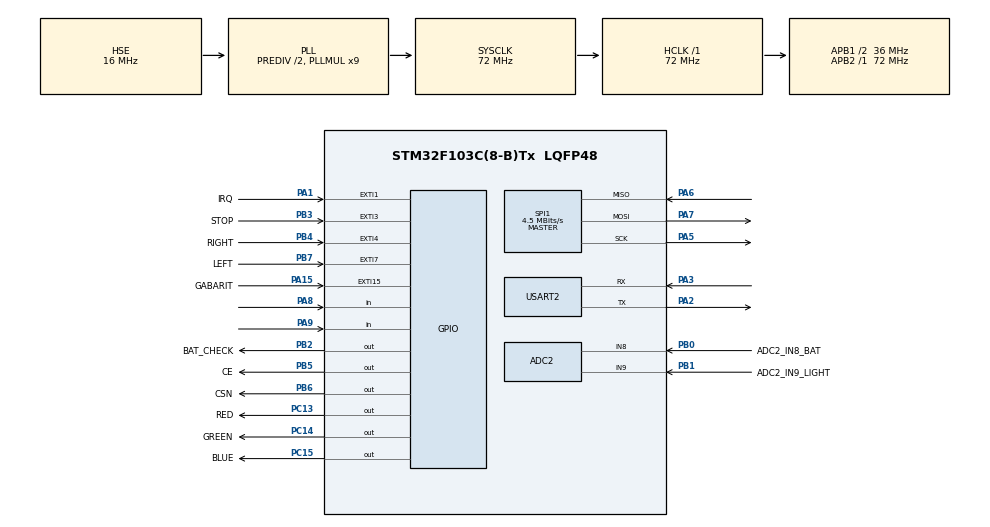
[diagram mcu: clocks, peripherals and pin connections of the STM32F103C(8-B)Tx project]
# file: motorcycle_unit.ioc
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ADC2.Channel-9\#ChannelRegularConversion=ADC_CHANNEL_9
ADC2.NbrOfConversionFlag=1
ADC2.Rank-9\#ChannelRegularConversion=1
ADC2.SamplingTime-9\#ChannelRegularConversion=ADC_SAMPLETIME_1CYCLE_5
Mcu.Family=STM32F1
Mcu.Name=STM32F103C(8-B)Tx
Mcu.Package=LQFP48
NVIC.EXTI15_10_IRQn=true\:2\:0\:true\:false\:true\:true\:true
NVIC.EXTI3_IRQn=true\:1\:0\:true\:false\:true\:true\:true
NVIC.EXTI4_IRQn=true\:1\:0\:true\:false\:true\:true\:true
NVIC.EXTI9_5_IRQn=true\:1\:0\:true\:false\:true\:true\:true
NVIC.PVD_IRQn=true\:7\:0\:true\:false\:true\:true\:true
NVIC.PriorityGroup=NVIC_PRIORITYGROUP_4
NVIC.TIM1_CC_IRQn=true\:5\:0\:true\:false\:true\:true\:true
NVIC.TIM2_IRQn=true\:1\:0\:true\:false\:true\:true\:true
NVIC.TIM4_IRQn=true\:6\:0\:true\:false\:true\:true\:true
PA1.GPIO_Label=IRQ
PA1.Signal=GPXTI1
PA13.Mode=Serial_Wire
PA13.Signal=SYS_JTMS-SWDIO
PA14.Mode=Serial_Wire
PA14.Signal=SYS_JTCK-SWCLK
PA15.GPIO_Label=GABARIT
PA15.GPIO_ModeDefaultEXTI=GPIO_MODE_IT_RISING_FALLING
PA15.GPIO_PuPd=GPIO_PULLUP
PA15.Signal=GPXTI15
PA2.Mode=Asynchronous
PA2.Signal=USART2_TX
PA3.Mode=Asynchronous
PA3.Signal=USART2_RX
PA5.Mode=Full_Duplex_Master
PA5.Signal=SPI1_SCK
PA6.Mode=Full_Duplex_Master
PA6.Signal=SPI1_MISO
PA7.Mode=Full_Duplex_Master
PA7.Signal=SPI1_MOSI
PA8.GPIO_PuPd=GPIO_PULLUP
PA8.Signal=GPIO_Input
PA9.GPIO_PuPd=GPIO_PULLUP
PA9.Signal=GPIO_Input
PB0.GPIO_Label=ADC2_IN8_BAT
PB0.Signal=ADCx_IN8
PB1.GPIO_Label=ADC2_IN9_LIGHT
PB1.Signal=ADCx_IN9
PB2.GPIO_Label=BAT_CHECK
PB2.Signal=GPIO_Output
PB3.GPIO_Label=STOP
PB3.GPIO_ModeDefaultEXTI=GPIO_MODE_IT_RISING_FALLING
PB3.GPIO_PuPd=GPIO_PULLUP
PB3.Signal=GPXTI3
PB4.GPIO_Label=RIGHT
PB4.GPIO_ModeDefaultEXTI=GPIO_MODE_IT_RISING_FALLING
PB4.GPIO_PuPd=GPIO_PULLUP
PB4.Signal=GPXTI4
PB5.GPIO_Label=CE
PB5.Signal=GPIO_Output
PB6.GPIO_Label=CSN
PB6.Signal=GPIO_Output
PB7.GPIO_Label=LEFT
PB7.GPIO_ModeDefaultEXTI=GPIO_MODE_IT_RISING_FALLING
PB7.GPIO_PuPd=GPIO_PULLUP
PB7.Signal=GPXTI7
PC13-TAMPER-RTC.GPIO_Label=RED
PC13-TAMPER-RTC.Signal=GPIO_Output
PC14-OSC32_IN.GPIO_Label=GREEN
PC14-OSC32_IN.Signal=GPIO_Output
PC15-OSC32_OUT.GPIO_Label=BLUE
PC15-OSC32_OUT.Signal=GPIO_Output
PD0-OSC_IN.Mode=HSE-External-Oscillator
PD0-OSC_IN.Signal=RCC_OSC_IN
PD1-OSC_OUT.Mode=HSE-External-Oscillator
PD1-OSC_OUT.Signal=RCC_OSC_OUT
ProjectManager.HeapSize=0x200
ProjectManager.StackSize=0x400
ProjectManager.TargetToolchain=TrueSTUDIO
RCC.ADCPresc=RCC_ADCPCLK2_DIV6
RCC.AHBFreq_Value=72000000
RCC.APB1CLKDivider=RCC_HCLK_DIV2
RCC.APB1Freq_Value=36000000
RCC.APB1TimFreq_Value=72000000
RCC.APB2Freq_Value=72000000
RCC.APB2TimFreq_Value=72000000
RCC.HCLKFreq_Value=72000000
RCC.HSEDivPLL=RCC_HSE_PREDIV_DIV2
RCC.HSE_VALUE=16000000
RCC.PLLMUL=RCC_PLL_MUL9
RCC.PLLSourceVirtual=RCC_PLLSOURCE_HSE
RCC.SYSCLKFreq_VALUE=72000000
RCC.SYSCLKSource=RCC_SYSCLKSOURCE_PLLCLK
RCC.USBFreq_Value=72000000
SH.ADCx_IN8.0=ADC2_IN8,IN8
SH.ADCx_IN9.0=ADC2_IN9,IN9
SPI1.BaudRatePrescaler=SPI_BAUDRATEPRESCALER_16
SPI1.CalculateBaudRate=4.5 MBits/s
SPI1.Direction=SPI_DIRECTION_2LINES
SPI1.Mode=SPI_MODE_MASTER
SPI1.VirtualType=VM_MASTER
TIM1.Channel-Output\ Compare1\ No\ Output=TIM_CHANNEL_1
TIM1.Period=59999
TIM1.Prescaler=7199
TIM2.Channel-Output\ Compare1\ No\ Output=TIM_CHANNEL_1
TIM2.Period=9999
TIM2.Prescaler=7199
TIM2.Pulse-Output\ Compare1\ No\ Output=10000
TIM4.Channel-Output\ Compare1\ No\ Output=TIM_CHANNEL_1
TIM4.Period=9999
TIM4.Prescaler=7199
TIM4.Pulse-Output\ Compare1\ No\ Output=10000
USART2.VirtualMode=VM_ASYNC
VP_TIM1_VS_no_output1.Mode=Output Compare1 No Output
VP_TIM2_VS_no_output1.Mode=Output Compare1 No Output
VP_TIM4_VS_no_output1.Mode=Output Compare1 No Output
board=custom

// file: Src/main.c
/* USER CODE BEGIN Header */
/**
  ******************************************************************************
  * @file           : main.c
  * @brief          : Main program body
  ******************************************************************************
  * @attention
  *
  * <h2><center>&copy; Copyright (c) 2019 STMicroelectronics.
  * All rights reserved.</center></h2>
  *
  * This software component is licensed by ST under BSD 3-Clause license,
  * the "License"; You may not use this file except in compliance with the
  * License. You may obtain a copy of the License at:
  *                        opensource.org/licenses/BSD-3-Clause
  *
  ******************************************************************************
  */
/* USER CODE END Header */

#include "main.h"

/* USER CODE BEGIN Includes */
#include "RF24.h"
#include "motorcycle.h"
#include "stm32f103xb.h"
/* USER CODE END Includes */

ADC_HandleTypeDef hadc2;

SPI_HandleTypeDef hspi1;

TIM_HandleTypeDef htim1;
TIM_HandleTypeDef htim2;
TIM_HandleTypeDef htim4;

UART_HandleTypeDef huart2;

/* USER CODE BEGIN PV */
int advertize_flag = 0;
extern int search_flag;
//uint8_t nrf_data[32] = {0,}; // буфер указываем максимального размера
//uint8_t remsg = 0; // переменная для приёма байта пришедшего вместе с ответом
/* USER CODE END PV */

void SystemClock_Config(void);
static void MX_GPIO_Init(void);
static void MX_SPI1_Init(void);
static void MX_ADC2_Init(void);
static void MX_USART2_UART_Init(void);
static void MX_TIM1_Init(void);
static void MX_TIM2_Init(void);
static void MX_TIM4_Init(void);

int main(void)
{

  /* MCU Configuration--------------------------------------------------------*/

  /* Reset of all peripherals, Initializes the Flash interface and the Systick. */
  HAL_Init();

  /* Configure the system clock */
  SystemClock_Config();

  /* Initialize all configured peripherals */
  MX_GPIO_Init();
  MX_SPI1_Init();
  MX_ADC2_Init();
  MX_USART2_UART_Init();
  MX_TIM1_Init();
  MX_TIM2_Init();
  MX_TIM4_Init();
  /* USER CODE BEGIN 2 */

  DWT_Init(); // счётчик для микросекундных пауз

  const uint64_t pipe1 = 0xE8E8F0F0E2LL; // адрес первой трубы
  const uint64_t pipe2 = 0xE8E8F0F0A2LL; // адрес второй трубы

   uint8_t res = isChipConnected(); // проверяет подключён ли модуль к SPI

//   char str[64] = {0,};
//   snprintf(str, 64, "Connected: %s\n\r", 1 ? "OK" : "NOT OK");
//   HAL_UART_Transmit(&huart2, (uint8_t*)str, strlen(str), 1000);

   res = NRF_Init(); // инициализация

//   snprintf(str, 64, "Init: %s\n\r", res > 0 && res < 255 ? "OK" : "NOT OK");
//   HAL_UART_Transmit(&huart2, (uint8_t*)str, strlen(str), 1000);

   ////////////// SET ////////////////
   setAutoAck(true);
   enableAckPayload();
   enableDynamicPayloads();
   // setPayloadSize(6);
   setChannel(19);
   openWritingPipe(pipe1);
   setPALevel(RF24_PA_MAX);
   ///////////////////////////////////

 //   nrf_data[0] = 77;
 //   nrf_data[1] = 86;
 //   nrf_data[2] = 97;
    unique_id();
   HAL_GPIO_WritePin(GPIOC, RED_Pin|GREEN_Pin|BLUE_Pin, GPIO_PIN_RESET);

   if((HAL_GPIO_ReadPin(GPIOB,STOP_Pin))== 0)
   {
	   advertize_flag = 1;
	   ADVERTIZE();//TEST(work,stop,on);
   }

//   HAL_TIM_Base_Start(&htim2); //таймер запускающий функцию search
//   HAL_TIM_Base_Start_IT(&htim2);
//   HELMET_SEARCH();
//   HAL_TIM_Base_Start_IT(&htim4);

 //  NRF.addr0 = address0;
  /* USER CODE END 2 */

  /* Infinite loop */
  while (1)
  {

    /* USER CODE BEGIN 3 */
	  ///////////////////////////////////// ПЕРЕДАЧА /////////////////////////////////////////////

	  	 // if(write(&nrf_data, strlen((const char*)nrf_data))) // отправляем данные
	  	 // {
//	  if (HAL_GPIO_ReadPin(GPIOA,GPIO_PIN_8)==0)
//	  if (search_flag == 1) HELMET_SEARCH();

//	  if((HAL_GPIO_ReadPin(GPIOA,GABARIT_Pin))== 0)
//	  {
//		  advertize_flag = 1;
//		  ADVERTIZE();
//	  }

  }
  /* USER CODE END 3 */
}

void SystemClock_Config(void)
{
  RCC_OscInitTypeDef RCC_OscInitStruct = {0};
  RCC_ClkInitTypeDef RCC_ClkInitStruct = {0};
  RCC_PeriphCLKInitTypeDef PeriphClkInit = {0};

  /** Initializes the CPU, AHB and APB busses clocks
  */
  RCC_OscInitStruct.OscillatorType = RCC_OSCILLATORTYPE_HSE;
  RCC_OscInitStruct.HSEState = RCC_HSE_ON;
  RCC_OscInitStruct.HSEPredivValue = RCC_HSE_PREDIV_DIV2;
  RCC_OscInitStruct.HSIState = RCC_HSI_ON;
  RCC_OscInitStruct.PLL.PLLState = RCC_PLL_ON;
  RCC_OscInitStruct.PLL.PLLSource = RCC_PLLSOURCE_HSE;
  RCC_OscInitStruct.PLL.PLLMUL = RCC_PLL_MUL9;
  if (HAL_RCC_OscConfig(&RCC_OscInitStruct) != HAL_OK)
  {
    Error_Handler();
  }
  /** Initializes the CPU, AHB and APB busses clocks
  */
  RCC_ClkInitStruct.ClockType = RCC_CLOCKTYPE_HCLK|RCC_CLOCKTYPE_SYSCLK
                              |RCC_CLOCKTYPE_PCLK1|RCC_CLOCKTYPE_PCLK2;
  RCC_ClkInitStruct.SYSCLKSource = RCC_SYSCLKSOURCE_PLLCLK;
  RCC_ClkInitStruct.AHBCLKDivider = RCC_SYSCLK_DIV1;
  RCC_ClkInitStruct.APB1CLKDivider = RCC_HCLK_DIV2;
  RCC_ClkInitStruct.APB2CLKDivider = RCC_HCLK_DIV1;

  if (HAL_RCC_ClockConfig(&RCC_ClkInitStruct, FLASH_LATENCY_2) != HAL_OK)
  {
    Error_Handler();
  }
  PeriphClkInit.PeriphClockSelection = RCC_PERIPHCLK_ADC;
  PeriphClkInit.AdcClockSelection = RCC_ADCPCLK2_DIV6;
  if (HAL_RCCEx_PeriphCLKConfig(&PeriphClkInit) != HAL_OK)
  {
    Error_Handler();
  }
}

static void MX_ADC2_Init(void)
{

  ADC_ChannelConfTypeDef sConfig = {0};

  /** Common config
  */
  hadc2.Instance = ADC2;
  hadc2.Init.ScanConvMode = ADC_SCAN_DISABLE;
  hadc2.Init.ContinuousConvMode = DISABLE;
  hadc2.Init.DiscontinuousConvMode = DISABLE;
  hadc2.Init.ExternalTrigConv = ADC_SOFTWARE_START;
  hadc2.Init.DataAlign = ADC_DATAALIGN_RIGHT;
  hadc2.Init.NbrOfConversion = 1;
  if (HAL_ADC_Init(&hadc2) != HAL_OK)
  {
    Error_Handler();
  }
  /** Configure Regular Channel
  */
  sConfig.Channel = ADC_CHANNEL_9;
  sConfig.Rank = ADC_REGULAR_RANK_1;
  sConfig.SamplingTime = ADC_SAMPLETIME_1CYCLE_5;
  if (HAL_ADC_ConfigChannel(&hadc2, &sConfig) != HAL_OK)
  {
    Error_Handler();
  }

}

static void MX_SPI1_Init(void)
{

  /* SPI1 parameter configuration*/
  hspi1.Instance = SPI1;
  hspi1.Init.Mode = SPI_MODE_MASTER;
  hspi1.Init.Direction = SPI_DIRECTION_2LINES;
  hspi1.Init.DataSize = SPI_DATASIZE_8BIT;
  hspi1.Init.CLKPolarity = SPI_POLARITY_LOW;
  hspi1.Init.CLKPhase = SPI_PHASE_1EDGE;
  hspi1.Init.NSS = SPI_NSS_SOFT;
  hspi1.Init.BaudRatePrescaler = SPI_BAUDRATEPRESCALER_16;
  hspi1.Init.FirstBit = SPI_FIRSTBIT_MSB;
  hspi1.Init.TIMode = SPI_TIMODE_DISABLE;
  hspi1.Init.CRCCalculation = SPI_CRCCALCULATION_DISABLE;
  hspi1.Init.CRCPolynomial = 10;
  if (HAL_SPI_Init(&hspi1) != HAL_OK)
  {
    Error_Handler();
  }

}

static void MX_TIM1_Init(void)
{

  TIM_MasterConfigTypeDef sMasterConfig = {0};
  TIM_OC_InitTypeDef sConfigOC = {0};
  TIM_BreakDeadTimeConfigTypeDef sBreakDeadTimeConfig = {0};

  htim1.Instance = TIM1;
  htim1.Init.Prescaler = 7199;
  htim1.Init.CounterMode = TIM_COUNTERMODE_UP;
  htim1.Init.Period = 59999;
  htim1.Init.ClockDivision = TIM_CLOCKDIVISION_DIV1;
  htim1.Init.RepetitionCounter = 0;
  htim1.Init.AutoReloadPreload = TIM_AUTORELOAD_PRELOAD_DISABLE;
  if (HAL_TIM_OC_Init(&htim1) != HAL_OK)
  {
    Error_Handler();
  }
  sMasterConfig.MasterOutputTrigger = TIM_TRGO_RESET;
  sMasterConfig.MasterSlaveMode = TIM_MASTERSLAVEMODE_DISABLE;
  if (HAL_TIMEx_MasterConfigSynchronization(&htim1, &sMasterConfig) != HAL_OK)
  {
    Error_Handler();
  }
  sConfigOC.OCMode = TIM_OCMODE_TIMING;
  sConfigOC.Pulse = 0;
  sConfigOC.OCPolarity = TIM_OCPOLARITY_HIGH;
  sConfigOC.OCNPolarity = TIM_OCNPOLARITY_HIGH;
  sConfigOC.OCFastMode = TIM_OCFAST_DISABLE;
  sConfigOC.OCIdleState = TIM_OCIDLESTATE_RESET;
  sConfigOC.OCNIdleState = TIM_OCNIDLESTATE_RESET;
  if (HAL_TIM_OC_ConfigChannel(&htim1, &sConfigOC, TIM_CHANNEL_1) != HAL_OK)
  {
    Error_Handler();
  }
  sBreakDeadTimeConfig.OffStateRunMode = TIM_OSSR_DISABLE;
  sBreakDeadTimeConfig.OffStateIDLEMode = TIM_OSSI_DISABLE;
  sBreakDeadTimeConfig.LockLevel = TIM_LOCKLEVEL_OFF;
  sBreakDeadTimeConfig.DeadTime = 0;
  sBreakDeadTimeConfig.BreakState = TIM_BREAK_DISABLE;
  sBreakDeadTimeConfig.BreakPolarity = TIM_BREAKPOLARITY_HIGH;
  sBreakDeadTimeConfig.AutomaticOutput = TIM_AUTOMATICOUTPUT_DISABLE;
  if (HAL_TIMEx_ConfigBreakDeadTime(&htim1, &sBreakDeadTimeConfig) != HAL_OK)
  {
    Error_Handler();
  }

}

static void MX_TIM2_Init(void)
{

  TIM_MasterConfigTypeDef sMasterConfig = {0};
  TIM_OC_InitTypeDef sConfigOC = {0};

  htim2.Instance = TIM2;
  htim2.Init.Prescaler = 7199;
  htim2.Init.CounterMode = TIM_COUNTERMODE_UP;
  htim2.Init.Period = 9999;
  htim2.Init.ClockDivision = TIM_CLOCKDIVISION_DIV1;
  htim2.Init.AutoReloadPreload = TIM_AUTORELOAD_PRELOAD_DISABLE;
  if (HAL_TIM_OC_Init(&htim2) != HAL_OK)
  {
    Error_Handler();
  }
  sMasterConfig.MasterOutputTrigger = TIM_TRGO_RESET;
  sMasterConfig.MasterSlaveMode = TIM_MASTERSLAVEMODE_DISABLE;
  if (HAL_TIMEx_MasterConfigSynchronization(&htim2, &sMasterConfig) != HAL_OK)
  {
    Error_Handler();
  }
  sConfigOC.OCMode = TIM_OCMODE_TIMING;
  sConfigOC.Pulse = 10000;
  sConfigOC.OCPolarity = TIM_OCPOLARITY_HIGH;
  sConfigOC.OCFastMode = TIM_OCFAST_DISABLE;
  if (HAL_TIM_OC_ConfigChannel(&htim2, &sConfigOC, TIM_CHANNEL_1) != HAL_OK)
  {
    Error_Handler();
  }

}

static void MX_TIM4_Init(void)
{

  TIM_MasterConfigTypeDef sMasterConfig = {0};
  TIM_OC_InitTypeDef sConfigOC = {0};

  htim4.Instance = TIM4;
  htim4.Init.Prescaler = 7199;
  htim4.Init.CounterMode = TIM_COUNTERMODE_UP;
  htim4.Init.Period = 9999;
  htim4.Init.ClockDivision = TIM_CLOCKDIVISION_DIV1;
  htim4.Init.AutoReloadPreload = TIM_AUTORELOAD_PRELOAD_DISABLE;
  if (HAL_TIM_OC_Init(&htim4) != HAL_OK)
  {
    Error_Handler();
  }
  sMasterConfig.MasterOutputTrigger = TIM_TRGO_RESET;
  sMasterConfig.MasterSlaveMode = TIM_MASTERSLAVEMODE_DISABLE;
  if (HAL_TIMEx_MasterConfigSynchronization(&htim4, &sMasterConfig) != HAL_OK)
  {
    Error_Handler();
  }
  sConfigOC.OCMode = TIM_OCMODE_TIMING;
  sConfigOC.Pulse = 10000;
  sConfigOC.OCPolarity = TIM_OCPOLARITY_HIGH;
  sConfigOC.OCFastMode = TIM_OCFAST_DISABLE;
  if (HAL_TIM_OC_ConfigChannel(&htim4, &sConfigOC, TIM_CHANNEL_1) != HAL_OK)
  {
    Error_Handler();
  }

}

static void MX_USART2_UART_Init(void)
{

  huart2.Instance = USART2;
  huart2.Init.BaudRate = 115200;
  huart2.Init.WordLength = UART_WORDLENGTH_8B;
  huart2.Init.StopBits = UART_STOPBITS_1;
  huart2.Init.Parity = UART_PARITY_NONE;
  huart2.Init.Mode = UART_MODE_TX_RX;
  huart2.Init.HwFlowCtl = UART_HWCONTROL_NONE;
  huart2.Init.OverSampling = UART_OVERSAMPLING_16;
  if (HAL_UART_Init(&huart2) != HAL_OK)
  {
    Error_Handler();
  }

}

static void MX_GPIO_Init(void)
{
  GPIO_InitTypeDef GPIO_InitStruct = {0};

  /* GPIO Ports Clock Enable */
  __HAL_RCC_GPIOC_CLK_ENABLE();
  __HAL_RCC_GPIOD_CLK_ENABLE();
  __HAL_RCC_GPIOA_CLK_ENABLE();
  __HAL_RCC_GPIOB_CLK_ENABLE();

  /*Configure GPIO pin Output Level */
  HAL_GPIO_WritePin(GPIOC, RED_Pin|GREEN_Pin|BLUE_Pin, GPIO_PIN_RESET);

  /*Configure GPIO pin Output Level */
  HAL_GPIO_WritePin(GPIOB, BAT_CHECK_Pin|CE_Pin|CSN_Pin, GPIO_PIN_RESET);

  /*Configure GPIO pins : RED_Pin GREEN_Pin BLUE_Pin */
  GPIO_InitStruct.Pin = RED_Pin|GREEN_Pin|BLUE_Pin;
  GPIO_InitStruct.Mode = GPIO_MODE_OUTPUT_PP;
  GPIO_InitStruct.Pull = GPIO_NOPULL;
  GPIO_InitStruct.Speed = GPIO_SPEED_FREQ_LOW;
  HAL_GPIO_Init(GPIOC, &GPIO_InitStruct);

  /*Configure GPIO pin : IRQ_Pin */
  GPIO_InitStruct.Pin = IRQ_Pin;
  GPIO_InitStruct.Mode = GPIO_MODE_IT_RISING;
  GPIO_InitStruct.Pull = GPIO_NOPULL;
  HAL_GPIO_Init(IRQ_GPIO_Port, &GPIO_InitStruct);

  /*Configure GPIO pins : BAT_CHECK_Pin CE_Pin CSN_Pin */
  GPIO_InitStruct.Pin = BAT_CHECK_Pin|CE_Pin|CSN_Pin;
  GPIO_InitStruct.Mode = GPIO_MODE_OUTPUT_PP;
  GPIO_InitStruct.Pull = GPIO_NOPULL;
  GPIO_InitStruct.Speed = GPIO_SPEED_FREQ_LOW;
  HAL_GPIO_Init(GPIOB, &GPIO_InitStruct);

  /*Configure GPIO pins : PA8 PA9 */
  GPIO_InitStruct.Pin = GPIO_PIN_8|GPIO_PIN_9;
  GPIO_InitStruct.Mode = GPIO_MODE_INPUT;
  GPIO_InitStruct.Pull = GPIO_PULLUP;
  HAL_GPIO_Init(GPIOA, &GPIO_InitStruct);

  /*Configure GPIO pin : GABARIT_Pin */
  GPIO_InitStruct.Pin = GABARIT_Pin;
  GPIO_InitStruct.Mode = GPIO_MODE_IT_RISING_FALLING;
  GPIO_InitStruct.Pull = GPIO_PULLUP;
  HAL_GPIO_Init(GABARIT_GPIO_Port, &GPIO_InitStruct);

  /*Configure GPIO pins : STOP_Pin RIGHT_Pin LEFT_Pin */
  GPIO_InitStruct.Pin = STOP_Pin|RIGHT_Pin|LEFT_Pin;
  GPIO_InitStruct.Mode = GPIO_MODE_IT_RISING_FALLING;
  GPIO_InitStruct.Pull = GPIO_PULLUP;
  HAL_GPIO_Init(GPIOB, &GPIO_InitStruct);

  /* EXTI interrupt init*/
  HAL_NVIC_SetPriority(EXTI3_IRQn, 1, 0);
  HAL_NVIC_EnableIRQ(EXTI3_IRQn);

  HAL_NVIC_SetPriority(EXTI4_IRQn, 1, 0);
  HAL_NVIC_EnableIRQ(EXTI4_IRQn);

  HAL_NVIC_SetPriority(EXTI9_5_IRQn, 1, 0);
  HAL_NVIC_EnableIRQ(EXTI9_5_IRQn);

  HAL_NVIC_SetPriority(EXTI15_10_IRQn, 2, 0);
  HAL_NVIC_EnableIRQ(EXTI15_10_IRQn);

}

/* USER CODE BEGIN 4 */
void HAL_GPIO_EXTI_Callback(uint16_t GPIO_Pin)
{
	HAL_TIM_Base_Stop_IT(&htim2);
	if(GPIO_Pin == STOP_Pin)
	{
		if((HAL_GPIO_ReadPin(GPIOB,STOP_Pin))== 0) 			WORK(work,stop,on);//TEST(work,stop,on);
		if((HAL_GPIO_ReadPin(GPIOB,STOP_Pin))== 1) 			WORK(work,stop,off);//TEST(work,stop,off);
	}

	if(GPIO_Pin == GABARIT_Pin)
	{
		//if((HAL_GPIO_ReadPin(GPIOA,GABARIT_Pin))== 0) 		TEST(work,gabarit,on);
		//if((HAL_GPIO_ReadPin(GPIOA,GABARIT_Pin))== 1) 		TEST(work,gabarit,off);
	}

	if(GPIO_Pin == LEFT_Pin)
	{
		if((HAL_GPIO_ReadPin(GPIOB,LEFT_Pin))== 0) 		WORK(work,left_turn,on);//TEST(work,left_turn,on);
		if((HAL_GPIO_ReadPin(GPIOB,LEFT_Pin))== 1) 		WORK(work,left_turn,off);//TEST(work,left_turn,off);
	}

	if(GPIO_Pin == RIGHT_Pin)
	{
		if((HAL_GPIO_ReadPin(GPIOB,RIGHT_Pin))== 0) 		WORK(work,right_turn,on);//TEST(work,right_turn,on);
		if((HAL_GPIO_ReadPin(GPIOB,RIGHT_Pin))== 1) 		WORK(work,right_turn,off);//TEST(work,right_turn,off);
	}
	HAL_TIM_Base_Start_IT(&htim2);
}
/* USER CODE END 4 */

void Error_Handler(void)
{
}

/************************ (C) COPYRIGHT STMicroelectronics *****END OF FILE****/
